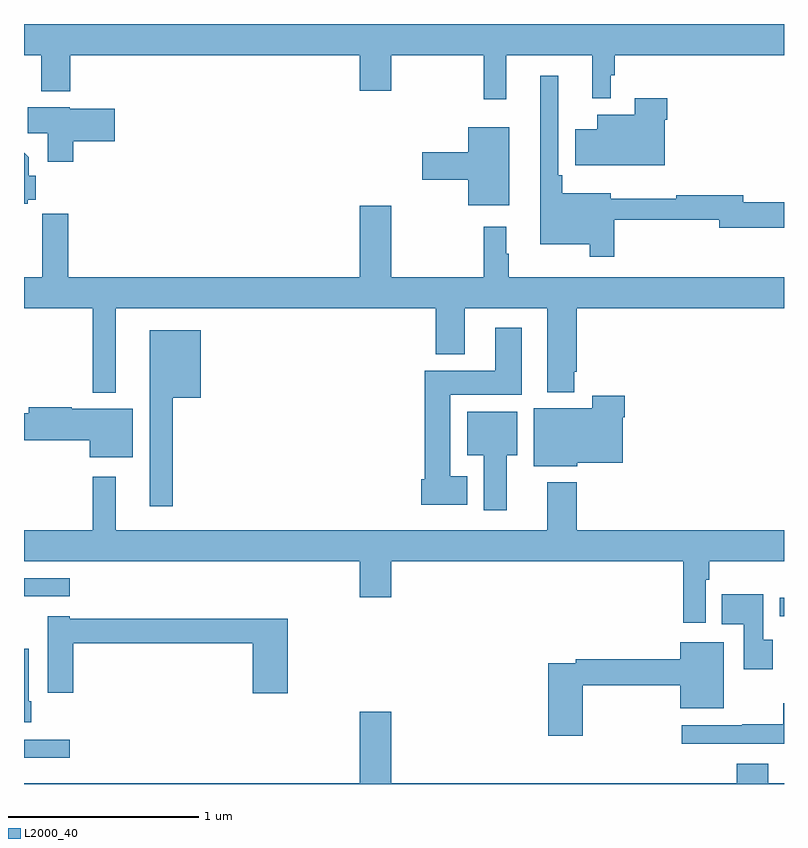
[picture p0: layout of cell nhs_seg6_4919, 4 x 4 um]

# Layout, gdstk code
import gdstk
lib = gdstk.Library(unit=1e-6, precision=1e-09)
def R(c, l, rs):  # rectangles x0, y0, x1, y1
    for r in rs: c.add(gdstk.rectangle(r[:2], r[2:], *l))
def P(c, l, *ps):  # polygons
    for p in ps: c.add(gdstk.Polygon(p, *l))
L2000_40 = (2000, 40)

nhs_seg6_4919 = lib.new_cell('nhs_seg6_4919')
R(nhs_seg6_4919, L2000_40, [(403,943.637,403.24,943.734), (406.977,944.382,407,944.48), (403,944.487,403.24,944.583)])
P(nhs_seg6_4919, L2000_40, [(405.539,947.336),(405.992,947.336),(405.992,947.108),(406.089,947.108),(406.089,947.229),(406.109,947.229),(406.109,947.336),(407,947.336),(407,947.5),(403,947.5),(403,947.336),(403.091,947.336),(403.091,947.147),(403.244,947.147),(403.244,947.336),(404.768,947.336),(404.768,947.148),(404.932,947.148),(404.932,947.336),(405.421,947.336),(405.421,947.103),(405.539,947.103)],
  [(406.106,946.47),(406.658,946.47),(406.658,946.427),(407,946.427),(407,946.562),(406.786,946.562),(406.786,946.598),(406.433,946.598),(406.433,946.579),(406.087,946.579),(406.087,946.609),(405.833,946.609),(405.833,946.705),(405.813,946.705),(405.813,947.227),(405.716,947.227),(405.716,946.34),(405.978,946.34),(405.978,946.275),(406.106,946.275)],
  [(406.372,946.997),(406.385,946.997),(406.385,947.11),(406.214,947.11),(406.214,947.023),(406.016,947.023),(406.016,946.945),(405.902,946.945),(405.902,946.757),(406.372,946.757)],
  [(403.259,946.883),(403.477,946.883),(403.477,947.053),(403.242,947.053),(403.242,947.062),(403.019,947.062),(403.019,946.924),(403.124,946.924),(403.124,946.776),(403.259,946.776)],
  [(405.553,946.957),(405.338,946.957),(405.338,946.826),(405.096,946.826),(405.096,946.679),(405.338,946.679),(405.338,946.547),(405.553,946.547)],
  [(403.02,946.574),(403.063,946.574),(403.063,946.702),(403.024,946.702),(403.024,946.798),(403,946.822),(403,946.555),(403.02,946.555)],
  [(403.232,946.501),(403.097,946.501),(403.097,946.388),(403.096,946.388),(403.096,946.168),(403,946.168),(403,946.004),(403.362,946.004),(403.362,945.667),(403.363,945.667),(403.363,945.56),(403.483,945.56),(403.483,946.004),(405.167,946.004),(405.167,945.761),(405.319,945.761),(405.319,946.004),(405.755,946.004),(405.755,945.563),(405.895,945.563),(405.895,945.67),(405.908,945.67),(405.908,946.004),(407,946.004),(407,946.168),(405.55,946.168),(405.55,946.292),(405.538,946.292),(405.538,946.432),(405.421,946.432),(405.421,946.168),(404.932,946.168),(404.932,946.543),(404.768,946.543),(404.768,946.168),(403.232,946.168)],
  [(405.334,945.121),(405.244,945.121),(405.244,945.548),(405.619,945.548),(405.619,945.901),(405.479,945.901),(405.479,945.676),(405.11,945.676),(405.11,945.105),(405.092,945.105),(405.092,944.969),(405.334,944.969)],
  [(403.783,945.533),(403.93,945.533),(403.93,945.889),(403.661,945.889),(403.661,944.961),(403.783,944.961)],
  [(405.912,945.191),(406.15,945.191),(406.15,945.431),(406.163,945.431),(406.163,945.544),(405.992,945.544),(405.992,945.478),(405.683,945.478),(405.683,945.173),(405.912,945.173)],
  [(403.573,945.475),(403.25,945.475),(403.25,945.482),(403.025,945.482),(403.025,945.452),(403,945.452),(403,945.31),(403.346,945.31),(403.346,945.221),(403.573,945.221)],
  [(405.541,945.23),(405.595,945.23),(405.595,945.46),(405.332,945.46),(405.332,945.23),(405.419,945.23),(405.419,944.94),(405.541,944.94)],
  [(403.362,945.118),(403.362,944.836),(403,944.836),(403,944.672),(404.768,944.672),(404.768,944.484),(404.932,944.484),(404.932,944.672),(406.471,944.672),(406.471,944.349),(406.587,944.349),(406.587,944.576),(406.607,944.576),(406.607,944.672),(407,944.672),(407,944.836),(405.908,944.836),(405.908,945.088),(405.755,945.088),(405.755,944.836),(403.483,944.836),(403.483,945.118)],
  [(406.942,944.259),(406.891,944.259),(406.891,944.5),(406.672,944.5),(406.672,944.342),(406.787,944.342),(406.787,944.103),(406.942,944.103)],
  [(404.387,944.371),(403.242,944.371),(403.242,944.383),(403.124,944.383),(403.124,943.98),(403.259,943.98),(403.259,944.242),(404.204,944.242),(404.204,943.977),(404.387,943.977)],
  [(405.941,944.02),(406.454,944.02),(406.454,943.898),(406.684,943.898),(406.684,944.245),(406.454,944.245),(406.454,944.156),(405.904,944.156),(405.904,944.136),(405.758,944.136),(405.758,943.755),(405.941,943.755)],
  [(403.037,943.936),(403.024,943.936),(403.024,944.212),(403,944.212),(403,943.824),(403.037,943.824)],
  [(407,943.924),(406.995,943.924),(406.995,943.814),(406.78,943.814),(406.78,943.809),(406.461,943.809),(406.461,943.713),(407,943.713)],
  [(407,943.504),(406.916,943.504),(406.916,943.606),(406.751,943.606),(406.751,943.504),(404.932,943.504),(404.932,943.879),(404.768,943.879),(404.768,943.504),(403,943.504),(403,943.5),(407,943.5)])

lib.write_gds('nhs_seg6_4919.gds')
